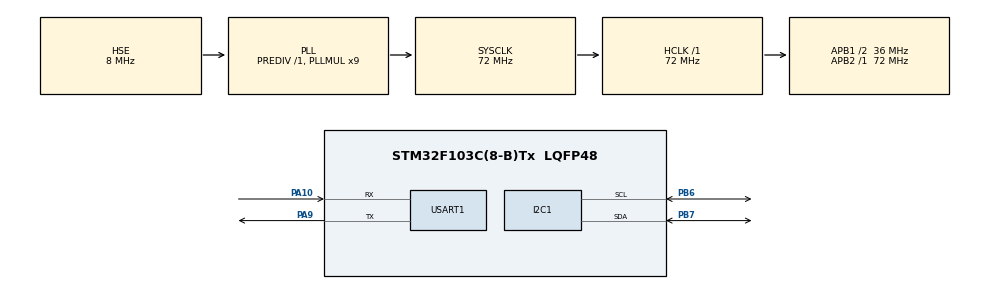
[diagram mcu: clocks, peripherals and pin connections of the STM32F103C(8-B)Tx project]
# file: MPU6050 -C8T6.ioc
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Mcu.Family=STM32F1
Mcu.Name=STM32F103C(8-B)Tx
Mcu.Package=LQFP48
NVIC.I2C1_ER_IRQn=true\:0\:0\:false\:false\:true\:true\:true
NVIC.I2C1_EV_IRQn=true\:0\:0\:false\:false\:true\:true\:true
NVIC.PriorityGroup=NVIC_PRIORITYGROUP_4
NVIC.USART1_IRQn=true\:0\:0\:false\:false\:true\:true\:true
PA10.Mode=Asynchronous
PA10.Signal=USART1_RX
PA13.Mode=Serial_Wire
PA13.Signal=SYS_JTMS-SWDIO
PA14.Mode=Serial_Wire
PA14.Signal=SYS_JTCK-SWCLK
PA9.Mode=Asynchronous
PA9.Signal=USART1_TX
PB6.Mode=I2C
PB6.Signal=I2C1_SCL
PB7.Mode=I2C
PB7.Signal=I2C1_SDA
PD0-OSC_IN.Mode=HSE-External-Oscillator
PD0-OSC_IN.Signal=RCC_OSC_IN
PD1-OSC_OUT.Mode=HSE-External-Oscillator
PD1-OSC_OUT.Signal=RCC_OSC_OUT
ProjectManager.HeapSize=0x200
ProjectManager.StackSize=0x400
ProjectManager.TargetToolchain=MDK-ARM V5.32
RCC.AHBFreq_Value=72000000
RCC.APB1CLKDivider=RCC_HCLK_DIV2
RCC.APB1Freq_Value=36000000
RCC.APB1TimFreq_Value=72000000
RCC.APB2Freq_Value=72000000
RCC.APB2TimFreq_Value=72000000
RCC.HCLKFreq_Value=72000000
RCC.PLLMUL=RCC_PLL_MUL9
RCC.PLLSourceVirtual=RCC_PLLSOURCE_HSE
RCC.SYSCLKFreq_VALUE=72000000
RCC.SYSCLKSource=RCC_SYSCLKSOURCE_PLLCLK
RCC.USBFreq_Value=72000000
USART1.VirtualMode=VM_ASYNC
board=custom

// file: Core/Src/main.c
/* USER CODE BEGIN Header */
/**
  ******************************************************************************
  * @file           : main.c
  * @brief          : Main program body
  ******************************************************************************
  * @attention
  *
  * Copyright (c) 2023 STMicroelectronics.
  * All rights reserved.
  *
  * This software is licensed under terms that can be found in the LICENSE file
  * in the root directory of this software component.
  * If no LICENSE file comes with this software, it is provided AS-IS.
  *
  ******************************************************************************
  */
/* USER CODE END Header */
#include "main.h"
#include "i2c.h"
#include "usart.h"
#include "gpio.h"

/* USER CODE BEGIN Includes */
#include "stdio.h"
#include "mpu6050.h"
#include "inv_mpu.h"
#include "INV_MPU_DMP_MOTION_DRIVER.H"
/* USER CODE END Includes */

/* USER CODE BEGIN PM */
float pitch,roll,yaw;         //欧拉角
short aacx,aacy,aacz;        //加速度传感器原始数据
short gyrox,gyroy,gyroz;    //陀螺仪原始数据
short temp;                    //温度
unsigned long	STEPS = 0;

/* USER CODE END PM */

void SystemClock_Config(void);

/* USER CODE BEGIN 0 */
/**
  * 函数功能: 重定向c库函数printf到DEBUG_USARTx
  * 输入参数: 无
  * 返 回 值: 无
  * 说    明：无
  */
int fputc(int ch, FILE *f)
{
  HAL_UART_Transmit(&huart1, (uint8_t *)&ch, 1, 0xffff);
  return ch;
}

/**
  * 函数功能: 重定向c库函数getchar,scanf到DEBUG_USARTx
  * 输入参数: 无
  * 返 回 值: 无
  * 说    明：无
  */
int fgetc(FILE *f)
{
  uint8_t ch = 0;
  HAL_UART_Receive(&huart1, &ch, 1, 0xffff);
  return ch;
}

/* USER CODE END 0 */

int main(void)
{

  /* MCU Configuration--------------------------------------------------------*/

  /* Reset of all peripherals, Initializes the Flash interface and the Systick. */
  HAL_Init();

  /* Configure the system clock */
  SystemClock_Config();

  /* Initialize all configured peripherals */
  MX_GPIO_Init();
  MX_I2C1_Init();
  MX_USART1_UART_Init();
  /* USER CODE BEGIN 2 */
    while(MPU_Init());                    //初始化MPU6050
    printf("%s\r\n","Mpu6050 Init ok!");
    while(mpu_dmp_init())
    {
        HAL_Delay(200);
        printf("%s\r\n","Mpu6050 Init Wrong!");
    }
      printf("%s\r\n","Mpu6050 Init OK!");
  /* USER CODE END 2 */

  /* Infinite loop */

    /* USER CODE END WHILE */
  while (1)
  {
	  dmp_get_pedometer_step_count(&STEPS);
    /* USER CODE END WHILE */
    if(mpu_dmp_get_data(&pitch,&roll,&yaw)==0)  //得到欧拉角
        {
            temp=MPU_Get_Temperature();                                //得到温度值
            MPU_Get_Accelerometer(&aacx,&aacy,&aacz);    //得到加速度传感器数据
            MPU_Get_Gyroscope(&gyrox,&gyroy,&gyroz);    //得到陀螺仪数据
            printf("三轴角度：%f-%f-%f\r\n",pitch,roll,yaw);
            printf("三轴加速度：%d-%d-%d\r\n",aacx,aacy,aacz);
            printf("三轴角角度：%d-%d-%d\r\n",gyrox,gyroy,gyroz);
			printf("计步器：%ld\r\n",STEPS);
        }

        HAL_Delay(1000);
  }
}

void SystemClock_Config(void)
{
  RCC_OscInitTypeDef RCC_OscInitStruct = {0};
  RCC_ClkInitTypeDef RCC_ClkInitStruct = {0};

  /** Initializes the RCC Oscillators according to the specified parameters
  * in the RCC_OscInitTypeDef structure.
  */
  RCC_OscInitStruct.OscillatorType = RCC_OSCILLATORTYPE_HSE;
  RCC_OscInitStruct.HSEState = RCC_HSE_ON;
  RCC_OscInitStruct.HSEPredivValue = RCC_HSE_PREDIV_DIV1;
  RCC_OscInitStruct.HSIState = RCC_HSI_ON;
  RCC_OscInitStruct.PLL.PLLState = RCC_PLL_ON;
  RCC_OscInitStruct.PLL.PLLSource = RCC_PLLSOURCE_HSE;
  RCC_OscInitStruct.PLL.PLLMUL = RCC_PLL_MUL9;
  if (HAL_RCC_OscConfig(&RCC_OscInitStruct) != HAL_OK)
  {
    Error_Handler();
  }
  /** Initializes the CPU, AHB and APB buses clocks
  */
  RCC_ClkInitStruct.ClockType = RCC_CLOCKTYPE_HCLK|RCC_CLOCKTYPE_SYSCLK
                              |RCC_CLOCKTYPE_PCLK1|RCC_CLOCKTYPE_PCLK2;
  RCC_ClkInitStruct.SYSCLKSource = RCC_SYSCLKSOURCE_PLLCLK;
  RCC_ClkInitStruct.AHBCLKDivider = RCC_SYSCLK_DIV1;
  RCC_ClkInitStruct.APB1CLKDivider = RCC_HCLK_DIV2;
  RCC_ClkInitStruct.APB2CLKDivider = RCC_HCLK_DIV1;

  if (HAL_RCC_ClockConfig(&RCC_ClkInitStruct, FLASH_LATENCY_2) != HAL_OK)
  {
    Error_Handler();
  }
}

void Error_Handler(void)
{
  __disable_irq();
  while (1)
  {
  }
}
